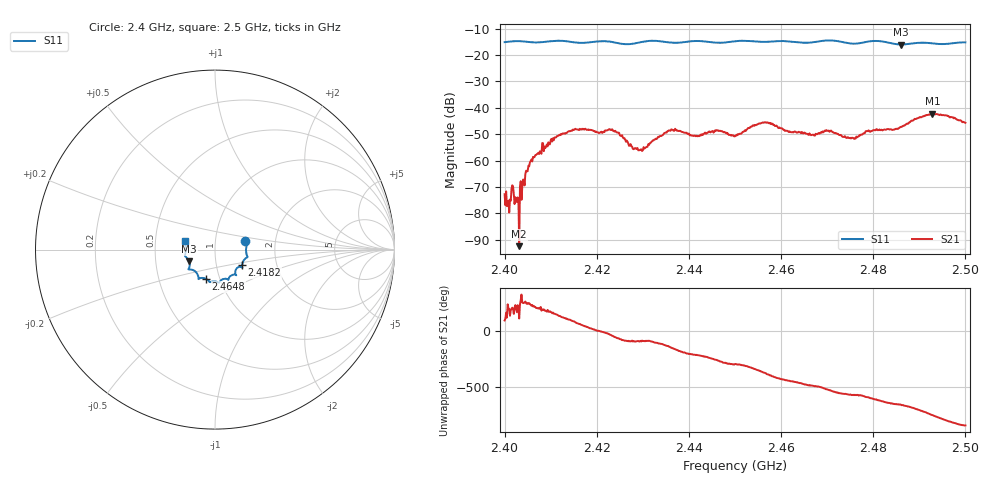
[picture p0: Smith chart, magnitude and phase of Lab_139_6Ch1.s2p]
# Hz S RI R 50
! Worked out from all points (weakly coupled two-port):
!   601 points, 2.4 GHz to 2.5 GHz, reference 50 ohm
!   highest |S21| = -42.27 dB at 2.4928 GHz (marker M1); lowest = -92.4 dB at 2.4032 GHz (marker M2)
!   lowest |S11| = -16.0 dB at 2.486 GHz (marker M3), VSWR 1.37, Z = 37.2 - j4.97 ohm
!   |S11| at or under -10 dB: start of sweep to end of sweep
!   S12 and S22 are empty: the file has one direction only
!   S11 on the Smith chart (normalised r, x): 2.4 GHz: 1.40, +0.13; 2.4182 GHz: 1.33, -0.23; 2.4648 GHz: 0.86, -0.29; 2.5 GHz: 0.71, +0.07
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2.4e9  0.1689 0.0459  -2.5e-06 0.000231  0 0  0 0
2.400667e9  0.1727 0.0419  -8.81e-05 -0.000124  0 0  0 0
2.401667e9  0.1773 0.0376  -0.00031 -0.000141  0 0  0 0
2.403167e9  0.1801 0.032  -7.29e-06 2.28e-05  0 0  0 0
2.405e9  0.1761 0.0189  -0.000257 -0.000577  0 0  0 0
2.406667e9  0.1727 0.000807  -0.00108 -0.000666  0 0  0 0
2.411333e9  0.1815 -0.04  -0.00231 0.00175  0 0  0 0
2.416667e9  0.1553 -0.0685  0.00243 0.00304  0 0  0 0
2.418167e9  0.1501 -0.0853  0.00344 0.00182  0 0  0 0
2.423667e9  0.1446 -0.0968  0.00224 -0.0029  0 0  0 0
2.4295e9  0.1131 -0.133  -3.05e-05 -0.00162  0 0  0 0
2.433333e9  0.1172 -0.1413  -0.00112 -0.00259  0 0  0 0
2.436667e9  0.0931 -0.1429  -0.00346 -0.00124  0 0  0 0
2.45e9  0.0253 -0.1806  0.00134 0.00256  0 0  0 0
2.4565e9  -0.00547 -0.1773  0.00508 -0.00165  0 0  0 0
2.464833e9  -0.0509 -0.1629  -0.00147 -0.0029  0 0  0 0
2.466667e9  -0.0714 -0.1577  -0.00194 -0.00237  0 0  0 0
2.475667e9  -0.1073 -0.1237  -0.00225 0.00142  0 0  0 0
2.483333e9  -0.1421 -0.0957  0.000915 0.00384  0 0  0 0
2.486e9  -0.1437 -0.0652  0.00218 0.00377  0 0  0 0
2.492833e9  -0.1647 -0.0205  0.0065 -0.00412  0 0  0 0
2.5e9  -0.1668 0.0471  -0.00298 -0.00426  0 0  0 0
